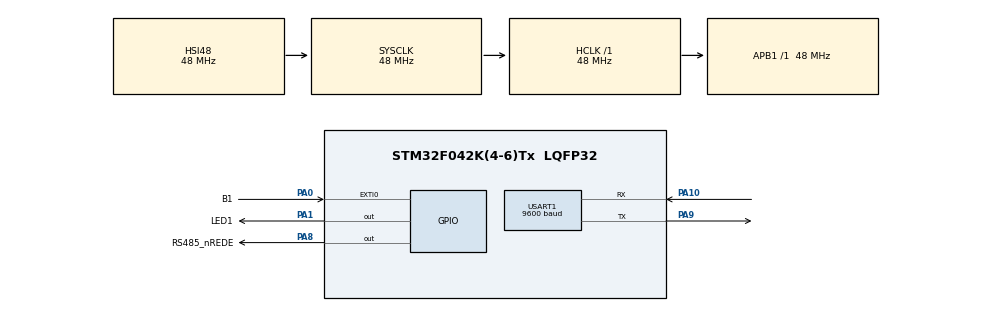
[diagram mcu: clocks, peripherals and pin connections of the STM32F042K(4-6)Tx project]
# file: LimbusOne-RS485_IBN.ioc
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Dma.Request0=USART1_RX
Dma.USART1_RX.0.Direction=DMA_PERIPH_TO_MEMORY
Dma.USART1_RX.0.Instance=DMA1_Channel3
Dma.USART1_RX.0.MemDataAlignment=DMA_MDATAALIGN_BYTE
Dma.USART1_RX.0.MemInc=DMA_MINC_ENABLE
Dma.USART1_RX.0.Mode=DMA_NORMAL
Dma.USART1_RX.0.PeriphDataAlignment=DMA_PDATAALIGN_BYTE
Dma.USART1_RX.0.PeriphInc=DMA_PINC_DISABLE
Dma.USART1_RX.0.Priority=DMA_PRIORITY_LOW
Mcu.Family=STM32F0
Mcu.Name=STM32F042K(4-6)Tx
Mcu.Package=LQFP32
NVIC.DMA1_Channel2_3_IRQn=true\:0\:0\:false\:false\:true\:false\:true\:true
NVIC.EXTI0_1_IRQn=true\:0\:0\:false\:false\:true\:true\:true\:true
NVIC.USART1_IRQn=true\:0\:0\:false\:false\:true\:true\:true\:true
PA0.GPIO_Label=B1
PA0.Signal=GPXTI0
PA1.GPIO_Label=LED1
PA1.Signal=GPIO_Output
PA10.Mode=Asynchronous
PA10.Signal=USART1_RX
PA13.Mode=Serial_Wire
PA13.Signal=SYS_SWDIO
PA14.Mode=Serial_Wire
PA14.Signal=SYS_SWCLK
PA8.GPIO_Label=RS485_nREDE
PA8.Signal=GPIO_Output
PA9.Mode=Asynchronous
PA9.Signal=USART1_TX
ProjectManager.HeapSize=0x200
ProjectManager.StackSize=0x400
ProjectManager.TargetToolchain=STM32CubeIDE
RCC.AHBFreq_Value=48000000
RCC.APB1Freq_Value=48000000
RCC.APB1TimFreq_Value=48000000
RCC.HCLKFreq_Value=48000000
RCC.SYSCLKFreq_VALUE=48000000
RCC.SYSCLKSource=RCC_SYSCLKSOURCE_HSI48
USART1.BaudRate=9600
USART1.VirtualMode-Asynchronous=VM_ASYNC
board=custom

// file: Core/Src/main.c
/* USER CODE BEGIN Header */
/**
  ******************************************************************************
  * @file           : main.c
  * @brief          : Main program body
  ******************************************************************************
  * @attention
  *
  * Copyright (c) 2024 STMicroelectronics.
  * All rights reserved.
  *
  * This software is licensed under terms that can be found in the LICENSE file
  * in the root directory of this software component.
  * If no LICENSE file comes with this software, it is provided AS-IS.
  *
  *
  * Very basic Project to verify UART / RS485 Transceiver is working
  *
  * - UART 1 ReceiveToIdle-DMA to works correctly it must be enabled
  * 	- DAM1 channel 2 and 3 interrupts ... AND
  * 	- UART1 global interrupt
  * 	- (in contrast @NASA Sniffer Project the UART1 global interrupt must be turned OFF)
  *
  *
  *
  *
  *
  ******************************************************************************
  */
/* USER CODE END Header */
#include "main.h"
#include "dma.h"
#include "usart.h"
#include "gpio.h"

/* USER CODE BEGIN Includes */
#include <string.h>
#include <stdio.h>
/* USER CODE END Includes */

/* USER CODE BEGIN PV */
static uint8_t local_RX_buffer[128];
#define RS485_TX_ENABLE()	HAL_GPIO_WritePin(RS485_nREDE_GPIO_Port, RS485_nREDE_Pin, 1); /* RS485 Transmitter enable */
#define RS485_TX_DISABLE()	HAL_GPIO_WritePin(RS485_nREDE_GPIO_Port, RS485_nREDE_Pin, 0); /* RS485 Transmitter disable */

/* USER CODE END PV */

void SystemClock_Config(void);

int main(void)
{

  /* MCU Configuration--------------------------------------------------------*/

  /* Reset of all peripherals, Initializes the Flash interface and the Systick. */
  HAL_Init();

  /* Configure the system clock */
  SystemClock_Config();

  /* Initialize all configured peripherals */
  MX_GPIO_Init();
  MX_DMA_Init();
  MX_USART1_UART_Init();
  /* USER CODE BEGIN 2 */

  /* Start Serial DMA on UART 1*/
  HAL_UARTEx_ReceiveToIdle_DMA( &huart1, local_RX_buffer, 128 );
  /* RS485 Receiver RX enable */
  RS485_TX_DISABLE();

  /* USER CODE END 2 */

  /* Infinite loop */
  while (1)
  {

    /* USER CODE BEGIN 3 */

//	  char msg3[] = {"Hallo Welt! from UART1\n"};
//	  RS485_TX_ENABLE();
//	  HAL_UART_Transmit(&huart1, (uint8_t*)msg3, strlen(msg3), 200);
//	  RS485_TX_DISABLE();

	  HAL_GPIO_TogglePin(LED1_GPIO_Port, LED1_Pin);
	  HAL_Delay(1000);
  }
  /* USER CODE END 3 */
}

void SystemClock_Config(void)
{
  RCC_OscInitTypeDef RCC_OscInitStruct = {0};
  RCC_ClkInitTypeDef RCC_ClkInitStruct = {0};
  RCC_PeriphCLKInitTypeDef PeriphClkInit = {0};

  /** Initializes the RCC Oscillators according to the specified parameters
  * in the RCC_OscInitTypeDef structure.
  */
  RCC_OscInitStruct.OscillatorType = RCC_OSCILLATORTYPE_HSI48;
  RCC_OscInitStruct.HSI48State = RCC_HSI48_ON;
  RCC_OscInitStruct.PLL.PLLState = RCC_PLL_NONE;
  if (HAL_RCC_OscConfig(&RCC_OscInitStruct) != HAL_OK)
  {
    Error_Handler();
  }

  /** Initializes the CPU, AHB and APB buses clocks
  */
  RCC_ClkInitStruct.ClockType = RCC_CLOCKTYPE_HCLK|RCC_CLOCKTYPE_SYSCLK
                              |RCC_CLOCKTYPE_PCLK1;
  RCC_ClkInitStruct.SYSCLKSource = RCC_SYSCLKSOURCE_HSI48;
  RCC_ClkInitStruct.AHBCLKDivider = RCC_SYSCLK_DIV1;
  RCC_ClkInitStruct.APB1CLKDivider = RCC_HCLK_DIV1;

  if (HAL_RCC_ClockConfig(&RCC_ClkInitStruct, FLASH_LATENCY_1) != HAL_OK)
  {
    Error_Handler();
  }
  PeriphClkInit.PeriphClockSelection = RCC_PERIPHCLK_USART1;
  PeriphClkInit.Usart1ClockSelection = RCC_USART1CLKSOURCE_PCLK1;
  if (HAL_RCCEx_PeriphCLKConfig(&PeriphClkInit) != HAL_OK)
  {
    Error_Handler();
  }
}

/* USER CODE BEGIN 4 */
void HAL_GPIO_EXTI_Callback(uint16_t GPIO_Pin){
	if(GPIO_Pin == B1_Pin){
		HAL_GPIO_TogglePin(LED1_GPIO_Port, LED1_Pin);
		char msg[] = "Button was pressed!\n";
		RS485_TX_ENABLE();
		HAL_UART_Transmit(&huart1, (uint8_t*) msg, strlen(msg), 200);
		RS485_TX_DISABLE();
	}

}

void HAL_UARTEx_RxEventCallback(UART_HandleTypeDef *huart, uint16_t Size) {

	/* This is Modbus RS485 data receiver */
	if (huart->Instance == USART1) {

		char loopback_msg[1024] = {0};
		sprintf(loopback_msg, "Received %d Bytes @ UART 1: [%s]\n", Size, local_RX_buffer);
		RS485_TX_ENABLE();
		HAL_UART_Transmit(&huart1, (uint8_t*) loopback_msg, strlen(loopback_msg), 200);
		RS485_TX_DISABLE();

		memset(local_RX_buffer, 0, 128);
		HAL_UARTEx_ReceiveToIdle_DMA(&huart1, local_RX_buffer, 128);
	}
}
/* USER CODE END 4 */

void Error_Handler(void)
{
  __disable_irq();
  while (1)
  {
  }
}
